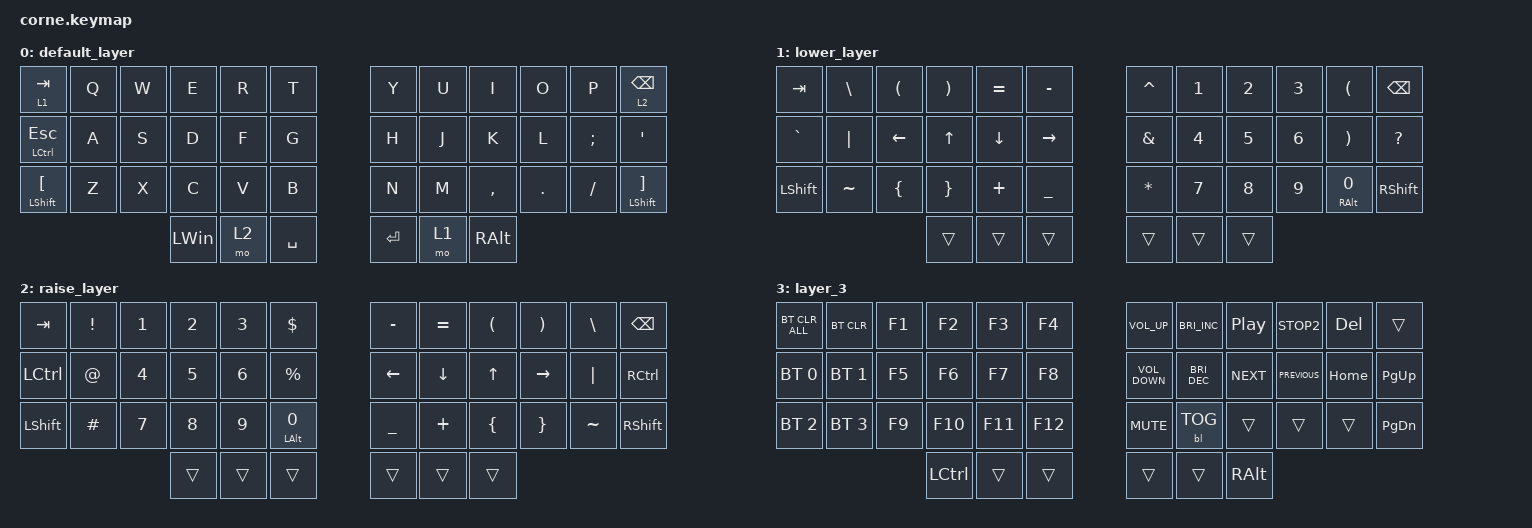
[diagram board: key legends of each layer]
/*
 * Copyright (c) 2020 The ZMK Contributors
 *
 * SPDX-License-Identifier: MIT
 */

#include <behaviors.dtsi>
#include <dt-bindings/zmk/backlight.h>
#include <dt-bindings/zmk/bt.h>
#include <dt-bindings/zmk/keys.h>

/ {
    keymap {
        compatible = "zmk,keymap";

        default_layer {
            // -----------------------------------------------------------------------------------------
            // |  TAB |  Q  |  W  |  E  |  R  |  T  |   |  Y  |  U   |  I  |  O  |  P  | BKSP |
            // | CTRL |  A  |  S  |  D  |  F  |  G  |   |  H  |  J   |  K  |  L  |  ;  |  '   |
            // | SHFT |  Z  |  X  |  C  |  V  |  B  |   |  N  |  M   |  ,  |  .  |  /  | ESC  |
            //                    | GUI | LWR | SPC |   | ENT | RSE  | ALT |

            bindings = <
&lt 1 TAB               &kp Q  &kp W  &kp E         &kp R  &kp T        &kp Y    &kp U  &kp I      &kp O    &kp P      &lt 2 BACKSPACE
&mt LCTRL ESC           &kp A  &kp S  &kp D         &kp F  &kp G        &kp H    &kp J  &kp K      &kp L    &kp SEMI   &kp SQT
&mt LSHFT LEFT_BRACKET  &kp Z  &kp X  &kp C         &kp V  &kp B        &kp N    &kp M  &kp COMMA  &kp DOT  &kp SLASH  &mt LSHIFT RIGHT_BRACKET
                                      &kp LEFT_WIN  &mo 2  &kp SPACE    &kp RET  &mo 1  &kp RALT
            >;
        };

        lower_layer {
            // -----------------------------------------------------------------------------------------
            // |  TAB |  1  |  2  |  3  |  4  |  5  |   |  6  |  7  |  8  |  9  |  0  | BKSP |
            // | BTCLR| BT1 | BT2 | BT3 | BT4 | BT5 |   | LFT | DWN |  UP | RGT |     |      |
            // | SHFT |     |     |     |     |     |   |     |     |     |     |     |      |
            //                    | GUI |     | SPC |   | ENT |     | ALT |

            bindings = <
&kp TAB    &kp BACKSLASH  &kp LEFT_PARENTHESIS  &kp RIGHT_PARENTHESIS  &kp EQUAL  &kp MINUS          &kp CARET      &kp NUMBER_1  &kp NUMBER_2  &kp NUMBER_3  &kp LEFT_PARENTHESIS    &kp BSPC
&kp GRAVE  &kp PIPE       &kp LEFT_ARROW        &kp UP_ARROW           &kp DOWN   &kp RIGHT_ARROW    &kp AMPERSAND  &kp NUMBER_4  &kp NUMBER_5  &kp NUMBER_6  &kp RIGHT_PARENTHESIS   &kp QUESTION
&kp LSHFT  &kp TILDE      &kp LEFT_BRACE        &kp RIGHT_BRACE        &kp PLUS   &kp UNDERSCORE     &kp ASTERISK   &kp NUMBER_7  &kp NUMBER_8  &kp NUMBER_9  &mt RIGHT_ALT NUMBER_0  &kp RSHIFT
                                                &trans                 &trans     &trans             &trans         &trans        &trans
            >;
        };

        raise_layer {
            // -----------------------------------------------------------------------------------------
            // |  TAB |  !  |  @  |  #  |  $  |  %  |   |  ^  |  &  |  *  |  (  |  )  | BKSP |
            // | CTRL |     |     |     |     |     |   |  -  |  =  |  [  |  ]  |  \  |  `   |
            // | SHFT |     |     |     |     |     |   |  _  |  +  |  {  |  }  | "|" |  ~   |
            //                    | GUI |     | SPC |   | ENT |     | ALT |

            bindings = <
&kp TAB    &kp EXCLAMATION  &kp NUMBER_1  &kp NUMBER_2  &kp NUMBER_3  &kp DOLLAR               &kp MINUS       &kp EQUAL       &kp LEFT_PARENTHESIS  &kp RIGHT_PARENTHESIS  &kp BACKSLASH  &kp BSPC
&kp LCTRL  &kp AT_SIGN      &kp NUMBER_4  &kp NUMBER_5  &kp NUMBER_6  &kp PERCENT              &kp LEFT_ARROW  &kp DOWN_ARROW  &kp UP_ARROW          &kp RIGHT_ARROW        &kp PIPE       &kp RCTRL
&kp LSHFT  &kp HASH         &kp NUMBER_7  &kp NUMBER_8  &kp NUMBER_9  &mt LEFT_ALT NUMBER_0    &kp UNDER       &kp PLUS        &kp LBRC              &kp RBRC               &kp TILDE      &kp RSHFT
                                          &trans        &trans        &trans                   &trans          &trans          &trans
            >;
        };

        layer_3 {
            bindings = <
&bt BT_CLR_ALL  &bt BT_CLR    &kp F1  &kp F2            &kp F3   &kp F4     &kp C_VOLUME_UP    &kp C_BRIGHTNESS_INC  &kp C_PLAY_PAUSE  &kp K_STOP2     &kp DELETE  &trans
&bt BT_SEL 0    &bt BT_SEL 1  &kp F5  &kp F6            &kp F7   &kp F8     &kp C_VOLUME_DOWN  &kp C_BRIGHTNESS_DEC  &kp C_NEXT        &kp C_PREVIOUS  &kp HOME    &kp PAGE_UP
&bt BT_SEL 2    &bt BT_SEL 3  &kp F9  &kp F10           &kp F11  &kp F12    &kp K_MUTE         &bl BL_TOG            &trans            &trans          &trans      &kp PAGE_DOWN
                                      &kp LEFT_CONTROL  &trans   &trans     &trans             &trans                &kp RIGHT_ALT
            >;
        };
    };

    conditional_layers {
        compatible = "zmk,conditional-layers";

        ed {
            if-layers = <1 2>;
            then-layer = <3>;
        };
    };
};
